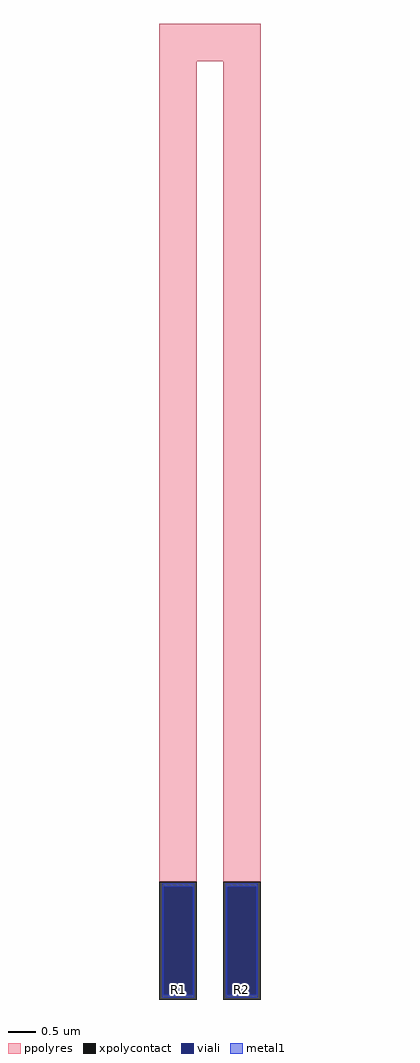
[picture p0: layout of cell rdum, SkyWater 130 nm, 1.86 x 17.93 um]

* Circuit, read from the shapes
.subckt rdum R1 R2
XR1 R1 R2 VSUBS sky130_fd_pr__res_high_po w=0.69 l=32.02
.ends

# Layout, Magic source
magic
tech sky130A
magscale 1 2
<< xpolycontact >>
rect -186 -1793 -48 -1361
rect 48 -1793 186 -1361
<< ppolyres >>
rect -186 1655 186 1793
rect -186 -1361 -48 1655
rect 48 -1361 186 1655
<< viali >>
rect -170 -1775 -64 -1378
rect 64 -1775 170 -1378
<< metal1 >>
rect -176 -1378 -58 -1366
rect -176 -1775 -170 -1378
rect -64 -1775 -58 -1378
rect -176 -1787 -58 -1775
rect 58 -1378 176 -1366
rect 58 -1775 64 -1378
rect 170 -1775 176 -1378
rect 58 -1787 176 -1775
<< labels >>
rlabel xpolycontact -117 -1758 -117 -1758 0 R1
port 1 nsew
rlabel xpolycontact 117 -1758 117 -1758 0 R2
port 2 nsew
<< end >>
